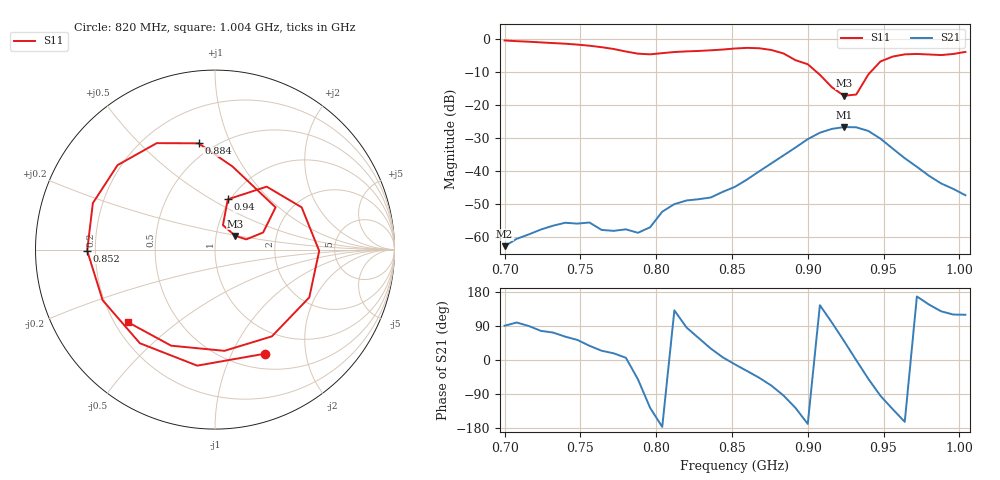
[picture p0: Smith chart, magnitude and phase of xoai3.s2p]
# Hz S RI R 50
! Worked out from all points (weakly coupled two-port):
!   39 points, 700 MHz to 1.004 GHz, reference 50 ohm
!   highest |S21| = -26.75 dB at 924 MHz (marker M1); lowest = -62.8 dB at 700 MHz (marker M2)
!   lowest |S11| = -17.3 dB at 924 MHz (marker M3), VSWR 1.32, Z = 62 + j9.62 ohm
!   |S11| at or under -10 dB: 905.7 MHz to 941.6 MHz (35.89 MHz wide, 3.89 % of centre)
!   S12 and S22 are empty: the file has one direction only
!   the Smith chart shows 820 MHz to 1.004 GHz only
!   S11 on the Smith chart (normalised r, x): 820 MHz: 0.69, -1.36; 852 MHz: 0.17, -0.00; 884 MHz: 0.42, +0.77; 940 MHz: 0.97, +0.60; 1.004 GHz: 0.25, -0.34
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7e8  0.7639 0.5527  -6.04e-06 0.000721  0 0  0 0
7.24e8  0.8439 -0.2522  0.000296 0.00126  0 0  0 0
7.4e8  0.4599 -0.7055  0.000777 0.00144  0 0  0 0
7.56e8  -0.1903 -0.7613  0.00131 0.001  0 0  0 0
7.72e8  -0.6688 -0.206  0.00117 0.000372  0 0  0 0
7.8e8  -0.6006 0.2242  0.00129 0.000133  0 0  0 0
7.88e8  -0.2504 0.5392  0.000721 -0.000897  0 0  0 0
7.96e8  0.2372 0.5308  -0.000827 -0.00112  0 0  0 0
8.04e8  0.5772 0.1828  -0.0024 -0.000145  0 0  0 0
8.2e8  0.28 -0.5796  0.000254 0.00354  0 0  0 0
8.36e8  -0.4185 -0.5218  0.0034 0.00199  0 0  0 0
8.52e8  -0.7121 -0.00587  0.0056 -0.00115  0 0  0 0
8.68e8  -0.5428 0.4708  0.00671 -0.00718  0 0  0 0
8.84e8  -0.0913 0.5922  -0.0011 -0.0171  0 0  0 0
9e8  0.3375 0.2354  -0.0296 -0.0059  0 0  0 0
9.08e8  0.2682 0.0953  -0.0308 0.0219  0 0  0 0
9.24e8  0.1137 0.0761  0.0297 0.0351  0 0  0 0
9.4e8  0.0713 0.28  0.0258 -0.0307  0 0  0 0
9.56e8  0.4829 0.2354  -0.0138 -0.0167  0 0  0 0
9.72e8  0.5252 -0.2664  -0.0112 0.00245  0 0  0 0
9.8e8  0.3169 -0.4835  -0.00699 0.00466  0 0  0 0
1.004e9  -0.487 -0.4033  -0.00209 0.00371  0 0  0 0
